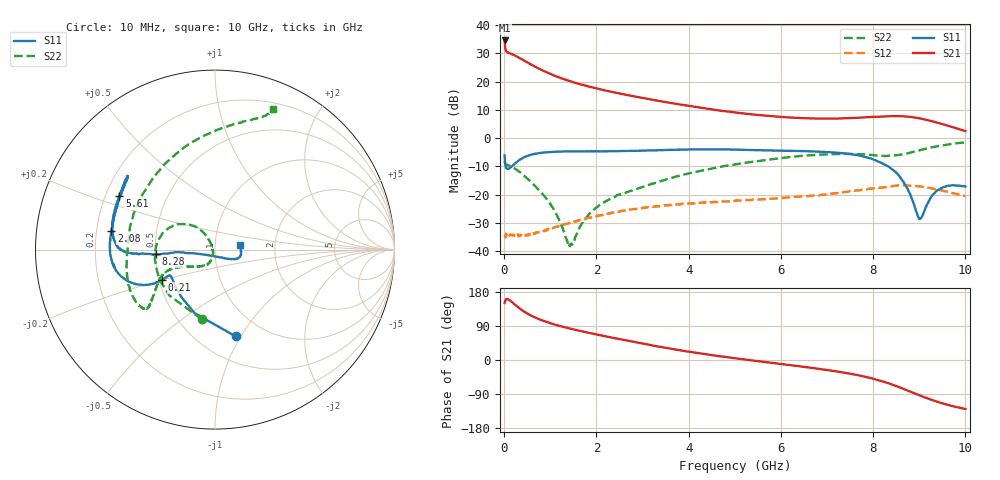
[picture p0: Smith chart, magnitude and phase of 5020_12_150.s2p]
# Hz S  dB  R 50
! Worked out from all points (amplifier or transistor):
!   1000 points, 10 MHz to 10 GHz, reference 50 ohm
!   highest |S21| = 34.5 dB at 10 MHz (marker M1)
!   |S21| within 3 dB of that: start of sweep to 27.48 MHz
!   unconditionally stable (mu >= 1): 65.67 MHz to end of sweep
!   at 1.67 GHz: K = 1.17, MAG = 21.4 dB, |S12| = -28.8 dB
!   at 5.01 GHz: K = 1.12, MAG = 13.5 dB, |S12| = -22.2 dB
!   at 10 GHz: K = 1.09, MAG = 9.6 dB, |S12| = -20.4 dB
!   S11 on the Smith chart (normalised r, x): 10 MHz: 0.74, -0.95; 210 MHz: 0.52, -0.20; 2.08 GHz: 0.26, +0.08; 5.61 GHz: 0.26, +0.25; 8.28 GHz: 0.50, -0.03; 10 GHz: 1.32, +0.08
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1e7  -6.07 -76.6  34.54 150.6  -34.86 38.7  -8.06 -100.7
7e7  -10.84 -147.0  30.39 161.1  -34.16 5.8  -9.50 -174.9
8e7  -10.85 -148.9  30.29 160.7  -34.31 6.8  -9.58 -177.7
1.1e8  -10.72 -150.5  30.09 158.6  -34.33 7.4  -9.70 175.1
2.1e8  -9.32 -150.3  29.40 148.5  -34.31 7.0  -10.52 159.6
3.1e8  -7.94 -151.4  28.56 138.3  -34.67 11.0  -11.67 148.9
4.2e8  -6.85 -154.4  27.56 128.8  -34.20 16.2  -13.07 140.4
5.8e8  -5.87 -159.2  26.07 117.4  -34.00 22.5  -15.38 130.6
7.6e8  -5.26 -164.4  24.53 107.5  -33.23 27.6  -18.42 124.5
9.3e8  -4.97 -168.4  23.22 100.0  -32.52 34.6  -21.67 121.3
1.13e9  -4.79 -172.6  21.86 92.4  -31.31 37.6  -26.85 124.4
1.43e9  -4.66 -178.3  20.13 82.9  -29.85 39.8  -38.17 -172.0
1.68e9  -4.62 177.1  18.93 75.9  -28.78 39.3  -30.20 -114.0
2.08e9  -4.64 169.8  17.27 65.5  -27.19 38.6  -23.49 -111.5
3.34e9  -4.25 147.2  13.22 35.5  -24.14 26.7  -15.46 -145.8
5.01e9  -4.03 143.0  9.09 4.6  -22.19 9.8  -9.29 -152.5
5.61e9  -4.27 150.7  8.03 -4.7  -21.60 4.1  -7.85 -145.6
6.67e9  -4.67 168.5  6.98 -20.7  -20.33 -5.8  -6.03 -139.0
8.28e9  -9.58 -175.5  7.71 -59.3  -17.30 -36.0  -6.30 170.8
8.34e9  -10.13 -175.2  7.76 -61.6  -17.15 -37.7  -6.20 165.7
9.01e9  -28.58 -103.2  7.01 -93.5  -17.07 -66.7  -4.24 101.5
1e10  -17.08 11.6  2.54 -129.3  -20.43 -99.7  -1.47 67.5
